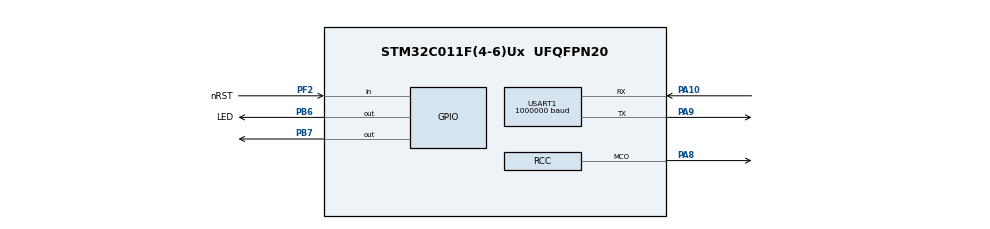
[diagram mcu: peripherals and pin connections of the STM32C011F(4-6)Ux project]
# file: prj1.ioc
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ADC1.Channel-0\#ChannelRegularConversion=ADC_CHANNEL_VREFINT
ADC1.NbrOfConversionFlag=1
ADC1.Rank-0\#ChannelRegularConversion=1
ADC1.SamplingTime-0\#ChannelRegularConversion=ADC_SAMPLINGTIME_COMMON_1
ADC1.SelectedChannel=ADC_CHANNEL_VREFINT
ADC1.master=1
Mcu.Family=STM32C0
Mcu.Name=STM32C011F(4-6)Ux
Mcu.Package=UFQFPN20
NVIC.TIM1_BRK_UP_TRG_COM_IRQn=true\:0\:0\:false\:false\:true\:true\:true\:true
NVIC.USART1_IRQn=true\:0\:0\:false\:false\:true\:true\:true\:true
PA10\ [PA12].GPIO_FMPA10=SYSCFG_FASTMODEPLUS_PA10
PA10\ [PA12].GPIO_ModeDefaultPP=GPIO_MODE_AF_PP
PA10\ [PA12].GPIO_PuPd=GPIO_NOPULL
PA10\ [PA12].GPIO_Speed=GPIO_SPEED_FREQ_VERY_HIGH
PA10\ [PA12].Mode=Asynchronous
PA10\ [PA12].Signal=USART1_RX
PA13.Mode=Serial_Wire
PA13.Signal=DEBUG_SWDIO
PA14-BOOT0.Mode=Serial_Wire
PA14-BOOT0.Signal=DEBUG_SWCLK
PA8.GPIO_Speed=GPIO_SPEED_FREQ_VERY_HIGH
PA8.Mode=Clock-out
PA8.Signal=RCC_MCO
PA9\ [PA11].GPIO_FMPA9=SYSCFG_FASTMODEPLUS_PA9
PA9\ [PA11].GPIO_PuPd=GPIO_NOPULL
PA9\ [PA11].GPIO_Speed=GPIO_SPEED_FREQ_VERY_HIGH
PA9\ [PA11].Mode=Asynchronous
PA9\ [PA11].Signal=USART1_TX
PB6.GPIO_Label=LED
PB6.GPIO_Speed=GPIO_SPEED_FREQ_VERY_HIGH
PB6.PinState=GPIO_PIN_RESET
PB6.Signal=GPIO_Output
PB7.Signal=GPIO_Output
PF2-NRST.GPIO_Label=nRST
PF2-NRST.Signal=GPIO_Input
ProjectManager.HeapSize=0x200
ProjectManager.StackSize=0x400
ProjectManager.TargetToolchain=MDK-ARM V5.32
RCC.ADCFreq_Value=48000000
RCC.AHBFreq_Value=48000000
RCC.CortexFreq_Value=48000000
RCC.EXTERNAL_CLOCK_VALUE=12288000
RCC.HCLKFreq_Value=48000000
RCC.HSE_VALUE=8000000
RCC.HSISYSCLKDivider=RCC_HSI_DIV1
RCC.HSI_VALUE=48000000
RCC.LSE_VALUE=32768
RCC.SYSCLKFreq_VALUE=48000000
TIM1.Period=9
TIM1.Prescaler=4799
USART1.BaudRate=1000000
USART1.VirtualMode-Asynchronous=VM_ASYNC
VP_ADC1_Vref_Input.Mode=IN-Vrefint
VP_SYS_VS_PINREMAP.Mode=PINREMAP
VP_SYS_VS_PINREMAP_10_12.Mode=PINREMAP_10_12
VP_TIM1_VS_ClockSourceINT.Mode=Internal
board=STM32C0116-DK

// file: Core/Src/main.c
/* USER CODE BEGIN Header */
/**
  ******************************************************************************
  * @file           : main.c
  * @brief          : Main program body
  ******************************************************************************
  * @attention

  ******************************************************************************
  */
/* USER CODE END Header */
#include "main.h"
#include "adc.h"
#include "tim.h"
#include "usart.h"
#include "gpio.h"

/* USER CODE BEGIN Includes */
#include <stdio.h>           //add for sprintf
#include "string.h"          //add for memcmp

/* USER CODE END Includes */

/* USER CODE BEGIN PTD */

//#define TXMODE
#define RXMODE

extern volatile uint8_t flg_rx;
extern volatile uint8_t irxdata[2][TXRXDATALEN+2];
extern volatile uint8_t irxdata2[TXRXDATALEN+2];
extern volatile uint32_t irxnum;
extern volatile uint8_t icurrentindex;

extern volatile uint8_t flg_rxin1;
extern volatile uint8_t flg_rxin2;
extern volatile uint8_t irxcount;
extern volatile uint8_t irxcount2;

extern volatile uint8_t timer1_flag;
extern volatile uint32_t itimecount;

/* USER CODE END PTD */

/* USER CODE BEGIN PD */

  #define ADC_CALIBRATION_TIMEOUT_MS       (   1UL)
  #define ADC_ENABLE_TIMEOUT_MS            (   1UL)
  #define ADC_DISABLE_TIMEOUT_MS           (   1UL)
  #define ADC_STOP_CONVERSION_TIMEOUT_MS   (   1UL)
  #define ADC_CONVERSION_TIMEOUT_MS        (4000UL)

  /* Delay between ADC end of calibration and ADC enable.                     */
  /* Delay estimation in CPU cycles: Case of ADC enable done                  */
  /* immediately after ADC calibration, ADC clock setting slow                */
  /* (LL_ADC_CLOCK_ASYNC_DIV32). Use a higher delay if ratio                  */
  /* (CPU clock / ADC clock) is above 32.                                     */
  #define ADC_DELAY_CALIB_ENABLE_CPU_CYCLES  (LL_ADC_DELAY_CALIB_ENABLE_ADC_CYCLES * 32)

/* Definitions of environment analog values */
  /* Value of analog reference voltage (Vref+), connected to analog voltage   */
  /* supply Vdda (unit: mV).                                                  */
  #define VDDA_APPLI                       (3300UL)

/* Definitions of data related to this example */
  /* Init variable out of expected ADC conversion data range */
  #define VAR_CONVERTED_DATA_INIT_VALUE    (__LL_ADC_DIGITAL_SCALE(LL_ADC_RESOLUTION_12B) + 1)

/* USER CODE END PD */

/* USER CODE BEGIN PM */

uint8_t TESTDATA2[TXRXDATALEN]=
{
 0x00,0x01,0x02,0x03,0x04,0x05,0x06,0x07,0x08,0x09,0x0A,0x0B,0x0C,0x0D,0x0E,0x0F,0x10,0x11,0x12,0x13,0x14,0x15,0x16,0x17,0x18,0x19,0x1A,0x1B,0x1C,0x1D
};

/* USER CODE END PM */

void SystemClock_Config(void);

/* USER CODE BEGIN 0 */

void iputs1(char *msg)
{
   while(*msg)
   Send_Data_To_UART1(*msg++);
}

void iputbytes1(uint8_t *msg, uint32_t ilen)
{
   while(ilen--)
   Send_Data_To_UART1(*msg++);
}

void Send_Data_To_UART1 (uint8_t c)
{
   USART1->TDR = c;

   while( (USART1-> ISR & (1<<7) ) ==0 );
}

uint8_t get_checksum_8(uint8_t *ival, uint32_t inum)
{
   uint32_t i =0;
   uint8_t iret =0;
   uint16_t isum =0;

   for (i=0; i<inum; i++)
   {
      isum += ival[i];
   }

   iret = (uint8_t)(isum & 0xff);

   return iret;
}

void dowith_uart_tx(void)
{
     static uint32_t itxcount=0;
     uint8_t stxout[TXRXDATALEN+2]={0};

      //uart tx
      if(itimecount>=1)   //1* 1ms =1ms
      {
         itimecount=0;

        //Send_Data_To_UART1(uhADCxConvertedData);

         #if (defined TXMODE)

            itxcount++;

            stxout[0]=CMDHEADER1;
            memcpy( stxout+1, TESTDATA2, TXRXDATALEN);
            //stxout[2]=itxcount;  //--test

            stxout[TXRXDATALEN+1]=get_checksum_8(stxout,TXRXDATALEN+1);

            iputbytes1((uint8_t *)stxout,TXRXDATALEN+2);

          #endif

      }

      #if (defined TXMODE)
      if(itxcount >=1000)  //1s
      {
         itxcount=0;

         LL_GPIO_TogglePin( LED_GPIO_Port, LED_Pin);
         LL_GPIO_TogglePin( GPIOB, LL_GPIO_PIN_7);

      }
      #endif
}

void dowith_uart_rx(void)
{
     static uint8_t flg_dataerr =0;
     static uint32_t irxcount=0;
     uint8_t ichksum =0;
     uint8_t iuserindex =0;

     //uart rx
     if (flg_rx==1)
     {
        flg_rx=0;

        irxcount++;

        if (icurrentindex==1)
           iuserindex=0;
        else
           iuserindex=1;

        //iputbytes1((uint8_t *)irxdata2,TXRXDATALEN+2);
        //iputbytes1((uint8_t *)irxdata[iuserindex],TXRXDATALEN+2);

        //ichksum = get_checksum_8((uint8_t *)irxdata2,TXRXDATALEN+1);
        ichksum = get_checksum_8( (uint8_t *)irxdata[iuserindex],TXRXDATALEN+1);

         //if( ichksum == irxdata2[TXRXDATALEN+1] )
         if( ichksum == irxdata[iuserindex][TXRXDATALEN+1] )
         {
           iputs1("ok");
           //flg_dataerr=0;
         }
         else
         {
            iputs1("er");
            flg_dataerr=1;
         }

     }

      if(irxcount >=1000)  //1s
      {
         irxcount=0;

         if(flg_dataerr==0)
         {
            LL_GPIO_TogglePin( LED_GPIO_Port, LED_Pin);
            LL_GPIO_TogglePin( GPIOB, LL_GPIO_PIN_7);
         }

         flg_dataerr=0;
      }
}

/* USER CODE END 0 */

int main(void)
{

  /* MCU Configuration--------------------------------------------------------*/

  /* Reset of all peripherals, Initializes the Flash interface and the Systick. */
  HAL_Init();

  /* Configure the system clock */
  SystemClock_Config();

  /* Initialize all configured peripherals */
  MX_GPIO_Init();
  MX_USART1_UART_Init();
  MX_TIM1_Init();
  MX_ADC1_Init();
  /* USER CODE BEGIN 2 */
  LL_RCC_ConfigMCO(LL_RCC_MCO1SOURCE_SYSCLK, LL_RCC_MCO1_DIV_4);   //12Mhz = 48Mhz/4

  iputs1("start...");

  /* USER CODE END 2 */

  /* Infinite loop */
  /* USER CODE BEGIN WHILE */

  while (1)
  {
    //LL_mDelay(1000);

    /* USER CODE END WHILE */

    /* USER CODE BEGIN 3 */
    dowith_uart_tx();

    dowith_uart_rx();

  }
  /* USER CODE END 3 */
}

void SystemClock_Config(void)
{

  LL_FLASH_SetLatency(LL_FLASH_LATENCY_1);

  /* HSI configuration and activation */
  LL_RCC_HSI_Enable();
  while(LL_RCC_HSI_IsReady() != 1)
  {
  }

  LL_RCC_HSI_SetCalibTrimming(64);
  LL_RCC_SetHSIDiv(LL_RCC_HSI_DIV_1);
  /* Set AHB prescaler*/
  LL_RCC_SetAHBPrescaler(LL_RCC_HCLK_DIV_1);

  /* Sysclk activation on the HSI */
  LL_RCC_SetSysClkSource(LL_RCC_SYS_CLKSOURCE_HSI);
  while(LL_RCC_GetSysClkSource() != LL_RCC_SYS_CLKSOURCE_STATUS_HSI)
  {
  }

  /* Set APB1 prescaler*/
  LL_RCC_SetAPB1Prescaler(LL_RCC_APB1_DIV_1);
  /* Update CMSIS variable (which can be updated also through SystemCoreClockUpdate function) */
  LL_SetSystemCoreClock(48000000);

   /* Update the time base */
  if (HAL_InitTick (TICK_INT_PRIORITY) != HAL_OK)
  {
    Error_Handler();
  }
  LL_RCC_ConfigMCO(LL_RCC_MCO1SOURCE_SYSCLK, LL_RCC_MCO1_DIV_1);
}

void Error_Handler(void)
{
  __disable_irq();
  while (1)
  {
  }
}
